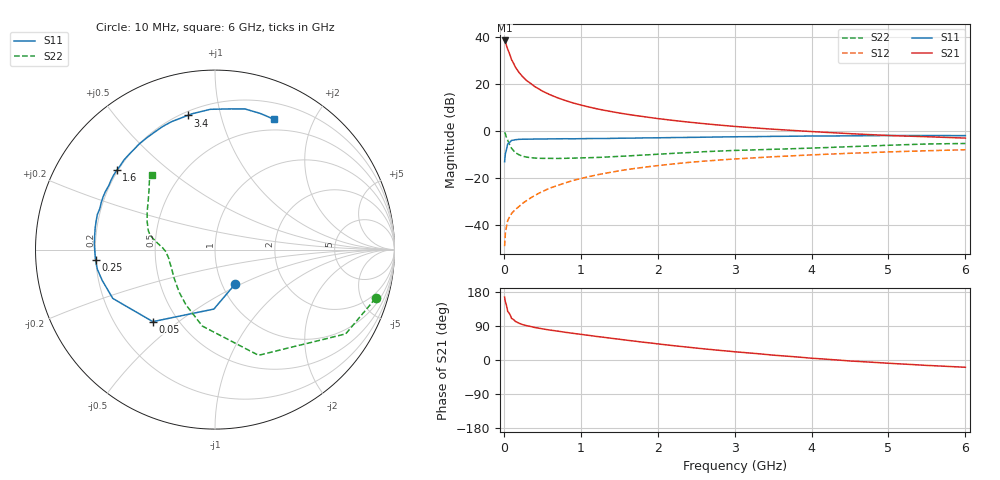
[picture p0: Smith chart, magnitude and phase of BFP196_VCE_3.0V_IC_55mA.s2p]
! Infineon Technologies  Discrete & RF Semiconductors
! BFP196
! VCE =  3.0 V,  IC =  55 mA
! Common Emitter S-Parameters:  Jan 2017
# GHz  S  MA  R  50
!  f  S11  S21  S12  S22
! GHz  MAG  ANG  MAG  ANG  MAG  ANG  MAG  ANG
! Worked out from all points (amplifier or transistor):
!   77 points, 10 MHz to 6 GHz, reference 50 ohm
!   highest |S21| = 38.4 dB at 10 MHz (marker M1)
!   |S21| within 3 dB of that: start of sweep to 42.69 MHz
!   unconditionally stable (mu >= 1): 481.5 MHz to 2.534 GHz
!   at 130 MHz: K = 0.67, MSG = 31.2 dB, |S12| = -34.0 dB
!   at 2.2 GHz: K = 1.01, MAG = 8.6 dB, |S12| = -14.0 dB
!   at 6 GHz: K = 0.96, MSG = 2.5 dB, |S12| = -8.0 dB
!   S11 on the Smith chart (normalised r, x): 10 MHz: 1.15, -0.47; 50 MHz: 0.36, -0.41; 250 MHz: 0.20, -0.04; 1.6 GHz: 0.20, +0.34; 3.4 GHz: 0.22, +0.79; 6 GHz: 0.37, +1.48
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0.01  0.2226 -59.9  83.03 166.0  0.0036 80.6  0.9348 -16.9
0.02  0.3315 -91.1  77.55 153.7  0.0067 72.0  0.8665 -32.8
0.05  0.5303 -130.8  54.25 128.3  0.0124 55.4  0.6369 -67.6
0.1  0.6312 -154.5  32.53 110.0  0.0177 53.6  0.4316 -99.5
0.15  0.6517 -164.8  22.56 101.9  0.0216 57.0  0.3477 -117.7
0.2  0.6643 -170.4  17.18 96.8  0.0252 59.4  0.3108 -129.8
0.25  0.6682 -174.9  13.83 93.0  0.0296 61.6  0.2894 -138.2
0.3  0.669 -177.9  11.58 90.4  0.0337 63.4  0.2779 -144.9
0.4  0.6732 177.3  8.753 85.8  0.0426 66.1  0.2662 -153.6
0.5  0.6751 173.2  7.007 82.2  0.0518 67.3  0.2623 -159.4
0.6  0.6785 169.6  5.87 79.0  0.0615 66.8  0.2624 -163.9
0.7  0.6809 166.6  5.035 76.2  0.0699 67.7  0.2606 -167.3
0.9  0.6812 160.4  3.924 70.4  0.089 66.3  0.2652 -172.0
1.1  0.6893 154.8  3.237 65.1  0.107 64.1  0.2708 -175.7
1.3  0.6908 149.0  2.752 59.9  0.1251 61.9  0.2779 -178.6
1.6  0.7034 141.1  2.263 52.2  0.1516 57.9  0.2938 177.8
2.1  0.7193 128.1  1.751 40.3  0.1917 50.8  0.3275 172.8
3.1  0.7541 107.0  1.214 20.1  0.2597 36.9  0.3903 162.8
3.4  0.7629 101.5  1.118 14.8  0.2775 33.2  0.4034 159.0
4.1  0.7821 90.4  0.951 3.4  0.3157 24.6  0.4388 149.1
5.1  0.8001 76.7  0.791 -9.7  0.3634 12.8  0.5035 136.8
6  0.797 65.8  0.706 -19.2  0.3994 2.8  0.5424 130.3
